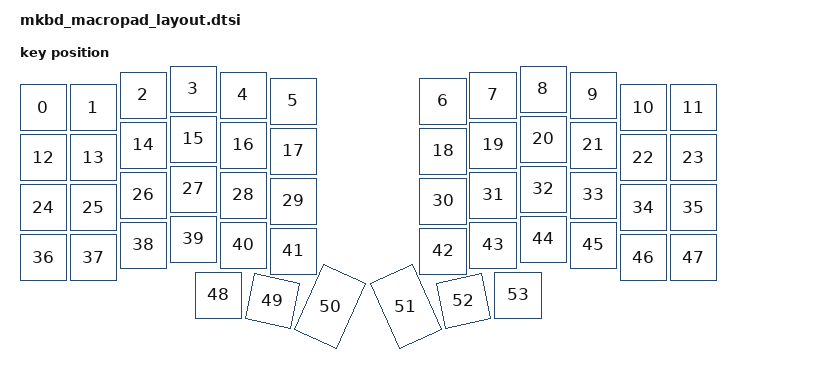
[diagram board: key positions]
#include <position_map.dtsi>
#include <physical_layouts.dtsi>

/ {
    mkbd_macropad_layout: mkbd_macropad_layout {
        compatible = "zmk,physical-layout";
        display-name = "mkbd-macropad";

        keys  //                     w   h    x    y     rot    rx    ry
            = <&key_physical_attrs 100 100    0   37       0     0     0>
            , <&key_physical_attrs 100 100  100   37       0     0     0>
            , <&key_physical_attrs 100 100  200   12       0     0     0>
            , <&key_physical_attrs 100 100  300    0       0     0     0>
            , <&key_physical_attrs 100 100  400   12       0     0     0>
            , <&key_physical_attrs 100 100  500   24       0     0     0>
            , <&key_physical_attrs 100 100  800   24       0     0     0>
            , <&key_physical_attrs 100 100  900   12       0     0     0>
            , <&key_physical_attrs 100 100 1000    0       0     0     0>
            , <&key_physical_attrs 100 100 1100   12       0     0     0>
            , <&key_physical_attrs 100 100 1200   37       0     0     0>
            , <&key_physical_attrs 100 100 1300   37       0     0     0>
            , <&key_physical_attrs 100 100    0  137       0     0     0>
            , <&key_physical_attrs 100 100  100  137       0     0     0>
            , <&key_physical_attrs 100 100  200  112       0     0     0>
            , <&key_physical_attrs 100 100  300  100       0     0     0>
            , <&key_physical_attrs 100 100  400  112       0     0     0>
            , <&key_physical_attrs 100 100  500  124       0     0     0>
            , <&key_physical_attrs 100 100  800  124       0     0     0>
            , <&key_physical_attrs 100 100  900  112       0     0     0>
            , <&key_physical_attrs 100 100 1000  100       0     0     0>
            , <&key_physical_attrs 100 100 1100  112       0     0     0>
            , <&key_physical_attrs 100 100 1200  137       0     0     0>
            , <&key_physical_attrs 100 100 1300  137       0     0     0>
            , <&key_physical_attrs 100 100    0  237       0     0     0>
            , <&key_physical_attrs 100 100  100  237       0     0     0>
            , <&key_physical_attrs 100 100  200  212       0     0     0>
            , <&key_physical_attrs 100 100  300  200       0     0     0>
            , <&key_physical_attrs 100 100  400  212       0     0     0>
            , <&key_physical_attrs 100 100  500  224       0     0     0>
            , <&key_physical_attrs 100 100  800  224       0     0     0>
            , <&key_physical_attrs 100 100  900  212       0     0     0>
            , <&key_physical_attrs 100 100 1000  200       0     0     0>
            , <&key_physical_attrs 100 100 1100  212       0     0     0>
            , <&key_physical_attrs 100 100 1200  237       0     0     0>
            , <&key_physical_attrs 100 100 1300  237       0     0     0>
            , <&key_physical_attrs 100 100    0  337       0     0     0>
            , <&key_physical_attrs 100 100  100  337       0     0     0>
            , <&key_physical_attrs 100 100  200  312       0     0     0>
            , <&key_physical_attrs 100 100  300  300       0     0     0>
            , <&key_physical_attrs 100 100  400  312       0     0     0>
            , <&key_physical_attrs 100 100  500  324       0     0     0>
            , <&key_physical_attrs 100 100  800  324       0     0     0>
            , <&key_physical_attrs 100 100  900  312       0     0     0>
            , <&key_physical_attrs 100 100 1000  300       0     0     0>
            , <&key_physical_attrs 100 100 1100  312       0     0     0>
            , <&key_physical_attrs 100 100 1200  337       0     0     0>
            , <&key_physical_attrs 100 100 1300  337       0     0     0>
            , <&key_physical_attrs 100 100  350  412       0     0     0>
            , <&key_physical_attrs 100 100  450  412    1200   450   512>
            , <&key_physical_attrs 100 150  548  383    2400   548   533>
            , <&key_physical_attrs 100 150  752  383  (-2400)  852   533>
            , <&key_physical_attrs 100 100  850  412  (-1200)  950   512>
            , <&key_physical_attrs 100 100  950  412       0     0     0>
        ;
    };
};

&layouts_mkbd_macropad_position_map {
    mkbd_macropad_posmap: mkbd_macropad_posmap {
        physical-layout = <&mkbd_macropad_layout>;
        positions
            = < 0  1  2  3  4  5  6  7  8  9 10 11>
            , <12 13 14 15 16 17 18 19 20 21 22 23>
            , <24 25 26 27 28 29 30 31 32 33 34 35>
            , <36 37 38 39 40 41 42 43 44 45 46 47>
            , <         48 49 50 51 52 53         >;
    };
};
